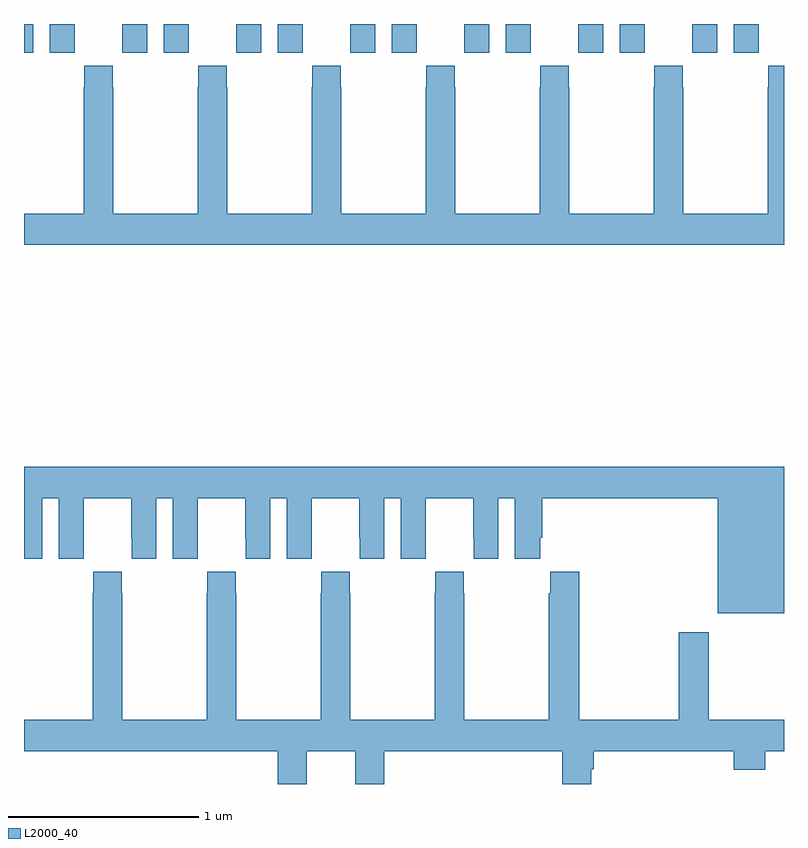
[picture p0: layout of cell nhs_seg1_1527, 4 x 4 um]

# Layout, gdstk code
import gdstk
lib = gdstk.Library(unit=1e-6, precision=1e-09)
def R(c, l, rs):  # rectangles x0, y0, x1, y1
    for r in rs: c.add(gdstk.rectangle(r[:2], r[2:], *l))
def P(c, l, *ps):  # polygons
    for p in ps: c.add(gdstk.Polygon(p, *l))
L2000_40 = (2000, 40)

nhs_seg1_1527 = lib.new_cell('nhs_seg1_1527')
R(nhs_seg1_1527, L2000_40, [(193,582.048,193.048,582.199)])
P(nhs_seg1_1527, L2000_40, [(196.048,582.199),(195.917,582.199),(195.917,582.16),(195.918,582.16),(195.918,582.048),(196.048,582.048)],
  [(193.266,582.16),(193.267,582.16),(193.267,582.199),(193.136,582.199),(193.136,582.048),(193.266,582.048)],
  [(193.648,582.199),(193.517,582.199),(193.517,582.16),(193.518,582.16),(193.518,582.048),(193.648,582.048)],
  [(193.866,582.16),(193.867,582.16),(193.867,582.199),(193.736,582.199),(193.736,582.048),(193.866,582.048)],
  [(194.248,582.199),(194.117,582.199),(194.117,582.16),(194.118,582.16),(194.118,582.048),(194.248,582.048)],
  [(194.466,582.16),(194.467,582.16),(194.467,582.199),(194.336,582.199),(194.336,582.048),(194.466,582.048)],
  [(194.848,582.199),(194.717,582.199),(194.717,582.16),(194.718,582.16),(194.718,582.048),(194.848,582.048)],
  [(195.066,582.16),(195.067,582.16),(195.067,582.199),(194.936,582.199),(194.936,582.048),(195.066,582.048)],
  [(195.448,582.199),(195.317,582.199),(195.317,582.16),(195.318,582.16),(195.318,582.048),(195.448,582.048)],
  [(195.666,582.16),(195.667,582.16),(195.667,582.199),(195.536,582.199),(195.536,582.048),(195.666,582.048)],
  [(196.266,582.16),(196.267,582.16),(196.267,582.199),(196.136,582.199),(196.136,582.048),(196.266,582.048)],
  [(196.648,582.199),(196.517,582.199),(196.517,582.16),(196.518,582.16),(196.518,582.048),(196.648,582.048)],
  [(196.866,582.16),(196.867,582.16),(196.867,582.199),(196.736,582.199),(196.736,582.048),(196.866,582.048)],
  [(197,581.98),(196.917,581.98),(196.917,581.867),(196.915,581.867),(196.915,581.2),(196.47,581.2),(196.47,581.867),(196.467,581.867),(196.467,581.98),(196.317,581.98),(196.317,581.867),(196.315,581.867),(196.315,581.2),(195.87,581.2),(195.87,581.867),(195.867,581.867),(195.867,581.98),(195.717,581.98),(195.717,581.867),(195.715,581.867),(195.715,581.2),(195.27,581.2),(195.27,581.867),(195.267,581.867),(195.267,581.98),(195.117,581.98),(195.117,581.867),(195.115,581.867),(195.115,581.2),(194.67,581.2),(194.67,581.867),(194.667,581.867),(194.667,581.98),(194.517,581.98),(194.517,581.867),(194.515,581.867),(194.515,581.2),(194.07,581.2),(194.07,581.867),(194.067,581.867),(194.067,581.98),(193.917,581.98),(193.917,581.867),(193.915,581.867),(193.915,581.2),(193.47,581.2),(193.47,581.867),(193.467,581.867),(193.467,581.98),(193.317,581.98),(193.317,581.867),(193.315,581.867),(193.315,581.2),(193,581.2),(193,581.036),(197,581.036)],
  [(197,579.868),(193,579.868),(193,579.384),(193.096,579.384),(193.096,579.704),(193.184,579.704),(193.184,579.384),(193.314,579.384),(193.314,579.496),(193.315,579.496),(193.315,579.704),(193.565,579.704),(193.565,579.496),(193.566,579.496),(193.566,579.384),(193.696,579.384),(193.696,579.704),(193.784,579.704),(193.784,579.384),(193.914,579.384),(193.914,579.496),(193.915,579.496),(193.915,579.704),(194.165,579.704),(194.165,579.496),(194.166,579.496),(194.166,579.384),(194.296,579.384),(194.296,579.704),(194.384,579.704),(194.384,579.384),(194.514,579.384),(194.514,579.496),(194.515,579.496),(194.515,579.704),(194.765,579.704),(194.765,579.496),(194.766,579.496),(194.766,579.384),(194.896,579.384),(194.896,579.704),(194.984,579.704),(194.984,579.384),(195.114,579.384),(195.114,579.496),(195.115,579.496),(195.115,579.704),(195.365,579.704),(195.365,579.496),(195.366,579.496),(195.366,579.384),(195.496,579.384),(195.496,579.704),(195.584,579.704),(195.584,579.384),(195.718,579.384),(195.718,579.496),(195.728,579.496),(195.728,579.704),(196.652,579.704),(196.652,579.098),(197,579.098)],
  [(194.488,578.372),(194.744,578.372),(194.744,578.199),(194.897,578.199),(194.897,578.372),(195.833,578.372),(195.833,578.199),(195.985,578.199),(195.985,578.276),(195.998,578.276),(195.998,578.372),(196.736,578.372),(196.736,578.273),(196.901,578.273),(196.901,578.372),(197,578.372),(197,578.536),(196.605,578.536),(196.605,578.998),(196.445,578.998),(196.445,578.536),(195.923,578.536),(195.923,579.316),(195.769,579.316),(195.769,579.203),(195.763,579.203),(195.763,578.536),(195.318,578.536),(195.318,579.203),(195.315,579.203),(195.315,579.316),(195.165,579.316),(195.165,579.203),(195.163,579.203),(195.163,578.536),(194.718,578.536),(194.718,579.203),(194.715,579.203),(194.715,579.316),(194.565,579.316),(194.565,579.203),(194.563,579.203),(194.563,578.536),(194.118,578.536),(194.118,579.203),(194.115,579.203),(194.115,579.316),(193.965,579.316),(193.965,579.203),(193.963,579.203),(193.963,578.536),(193.518,578.536),(193.518,579.203),(193.515,579.203),(193.515,579.316),(193.365,579.316),(193.365,579.203),(193.363,579.203),(193.363,578.536),(193,578.536),(193,578.372),(194.336,578.372),(194.336,578.199),(194.488,578.199)])

lib.write_gds('nhs_seg1_1527.gds')
